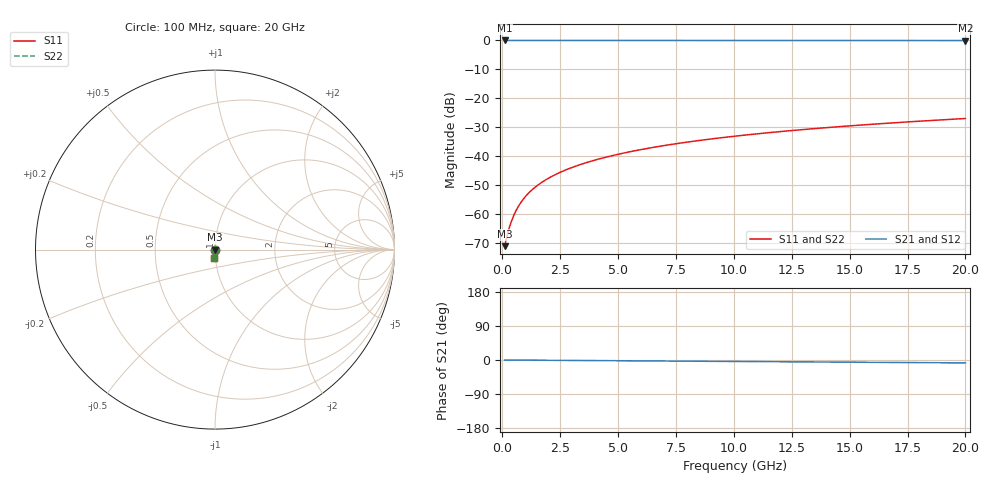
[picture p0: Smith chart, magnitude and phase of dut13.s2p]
! Touchstone file exported from HFSS 2026.1.0
!  File:  C:/ffzhzh/LocalFiles/Ansys_Project_Files/temp_train_TSV_13_1782957975_45568.aedt
!  Generated:  10:07:52 AM Jul  2, 2026
!  Design:  TSV
!  Project:  temp_train_TSV_13_1782957975_45568
! Variables:
!  h_bsmrdl = 2um
!  h_ox = 20um
!  h_rdl = 5um
!  h_sub = 77.74um
!  h_tmrdl = 5um
!  h_tsv = 77.74um
!  h_via = 3um
!  l_bsmrdl = 300um
!  l_sub = 414.22um
!  l_tmrdl = 200um
!  m_sub = 200um
!  pitch = 21.17um
!  r_tsv = 7.11um
!  s_tmrdl = 10um
!  w_bsmrdl = 18um
!  w_sub = 500um
!  w_tmrdl = 12um
!  x_tsv_center1 = 206um
!  x_tsv_center2 = 524um
!  x_tsv_center3 = 736um
!  x_tsv_center4 = 1054um
!  x_tsv_center5 = 1266um
!  x_tsv_center6 = 1584um
# GHz S MA R 50.000000
! Terminal data exported
! Port[1] = TSV1_1_T1
! Port[2] = TSV1_1_T2
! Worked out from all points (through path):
!   200 points, 100 MHz to 20 GHz, reference 50 ohm
!   highest |S21| = 0.00 dB at 100 MHz (marker M1); lowest = 0.0 dB at 20 GHz (marker M2)
!   group delay of S21, straight-line fit = 1.06 ps
!   lowest |S11| = -71.1 dB at 100 MHz (marker M3), VSWR 1.00, Z = 50 - j0.0161 ohm
!   |S11| at or under -10 dB: start of sweep to end of sweep
!   |S22| runs from -71.1 to -27.0 dB; largest |S21 - S12| = 2.5e-15
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0.1  0.0002777 -35.4  0.9998 -0.0  0.9998 -0.0  0.0002777 -35.4
! Gamma 0 0 0 0
! Port Impedance 50 0 50 0
0.2  0.0004105 -53.0  0.9998 -0.1  0.9998 -0.1  0.0004105 -53.0
0.3  0.0005756 -61.3  0.9997 -0.1  0.9997 -0.1  0.0005756 -61.3
0.4  0.0007588 -65.9  0.9997 -0.2  0.9997 -0.2  0.0007588 -65.9
0.5  0.0009538 -69.0  0.9997 -0.2  0.9997 -0.2  0.0009538 -69.0
0.6  0.001157 -71.2  0.9996 -0.2  0.9996 -0.2  0.001157 -71.2
0.8  0.001576 -74.4  0.9996 -0.3  0.9996 -0.3  0.001576 -74.4
1.1  0.002218 -77.6  0.9995 -0.4  0.9995 -0.4  0.002218 -77.6
1.3  0.00265 -79.1  0.9995 -0.5  0.9995 -0.5  0.00265 -79.1
1.5  0.003082 -80.3  0.9994 -0.6  0.9994 -0.6  0.003082 -80.3
1.8  0.00373 -81.7  0.9994 -0.7  0.9994 -0.7  0.00373 -81.7
2.1  0.00438 -82.7  0.9994 -0.8  0.9994 -0.8  0.00438 -82.7
2.7  0.005684 -84.1  0.9993 -1.1  0.9993 -1.1  0.005684 -84.1
3.5  0.007437 -85.4  0.9992 -1.4  0.9992 -1.4  0.007437 -85.4
4.2  0.008983 -86.2  0.9991 -1.6  0.9991 -1.6  0.008983 -86.2
5  0.01076 -86.9  0.999 -1.9  0.999 -1.9  0.01076 -86.9
6.8  0.0148 -88.3  0.9988 -2.6  0.9988 -2.6  0.0148 -88.3
8.3  0.01819 -89.3  0.9986 -3.2  0.9986 -3.2  0.01819 -89.3
10.1  0.02226 -90.4  0.9984 -3.9  0.9984 -3.9  0.02226 -90.4
13.4  0.02974 -92.1  0.998 -5.1  0.998 -5.1  0.02974 -92.1
16.7  0.03723 -93.7  0.9976 -6.4  0.9976 -6.4  0.03723 -93.7
20  0.04472 -95.2  0.9971 -7.6  0.9971 -7.6  0.04472 -95.2
